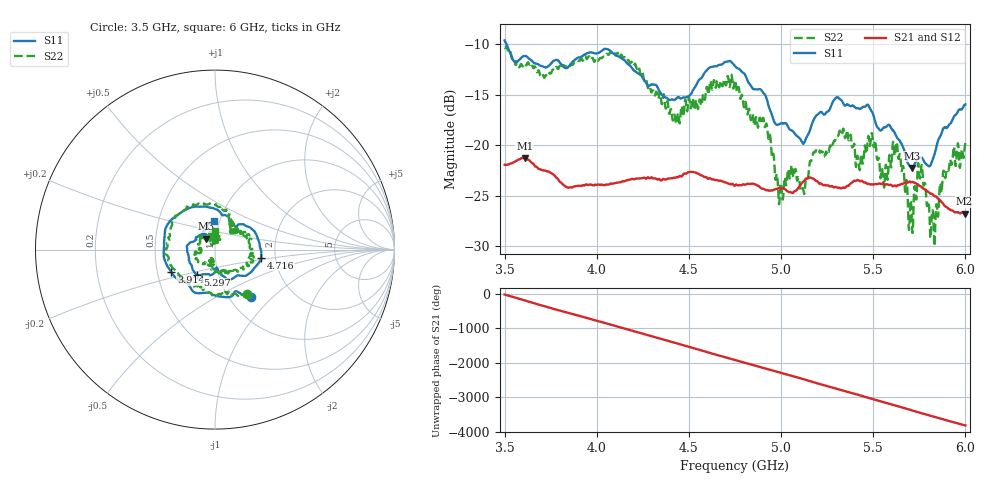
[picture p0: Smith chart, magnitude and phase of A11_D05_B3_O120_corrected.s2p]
! Created with skrf 1.9.0 (http://scikit-rf.org).
# Hz S RI R 50.0
!freq ReS11 ImS11 ReS21 ImS21 ReS12 ImS12 ReS22 ImS22
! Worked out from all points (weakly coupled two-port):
!   1601 points, 3.5 GHz to 6 GHz, reference 50 ohm
!   highest |S21| = -21.26 dB at 3.609 GHz (marker M1); lowest = -26.8 dB at 5.995 GHz (marker M2)
!   lowest |S11| = -22.3 dB at 5.713 GHz (marker M3), VSWR 1.17, Z = 45.1 + j5.53 ohm
!   |S11| at or under -10 dB: 3.51 GHz to end of sweep
!   |S22| runs from -30.0 to -10.2 dB; largest |S21 - S12| = 0.00098
!   S11 on the Smith chart (normalised r, x): 3.5 GHz: 1.26, -0.74; 3.914 GHz: 0.59, -0.16; 4.716 GHz: 1.68, -0.16; 5.297 GHz: 0.79, -0.23; 6 GHz: 0.94, +0.31
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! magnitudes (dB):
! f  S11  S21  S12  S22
! 3.5 GHz  -9.6  -21.9  -21.9  -10.4
! 3.609 GHz  -11.2  -21.3  -21.3  -11.9
! 3.914 GHz  -11.3  -24.0  -24.0  -11.5
! 3.917 GHz  -11.2  -24.0  -24.0  -11.4
! 4.123 GHz  -11.3  -23.7  -23.7  -11.3
! 4.334 GHz  -14.5  -23.4  -23.3  -15.4
! 4.439 GHz  -15.3  -23.2  -23.1  -16.9
! 4.716 GHz  -11.7  -23.8  -23.9  -13.7
! 4.75 GHz  -12.2  -24.0  -23.9  -13.6
! 4.912 GHz  -15.0  -24.4  -24.4  -18.2
! 4.998 GHz  -17.9  -24.3  -24.3  -23.8
! 5.119 GHz  -19.8  -23.6  -23.6  -24.3
! 5.167 GHz  -17.9  -23.3  -23.2  -21.4
! 5.297 GHz  -15.3  -24.1  -24.1  -19.3
! 5.584 GHz  -18.0  -23.9  -23.9  -21.6
! 5.634 GHz  -19.4  -24.0  -23.9  -21.1
! 5.713 GHz  -22.3  -23.6  -23.6  -28.7
! 5.755 GHz  -21.2  -24.1  -24.0  -23.3
! 5.822 GHz  -21.5  -24.9  -24.8  -26.4
! 5.889 GHz  -18.2  -26.0  -26.0  -23.2
! 5.995 GHz  -16.0  -26.8  -26.7  -20.4
! 6 GHz  -16.0  -26.7  -26.7  -19.7
